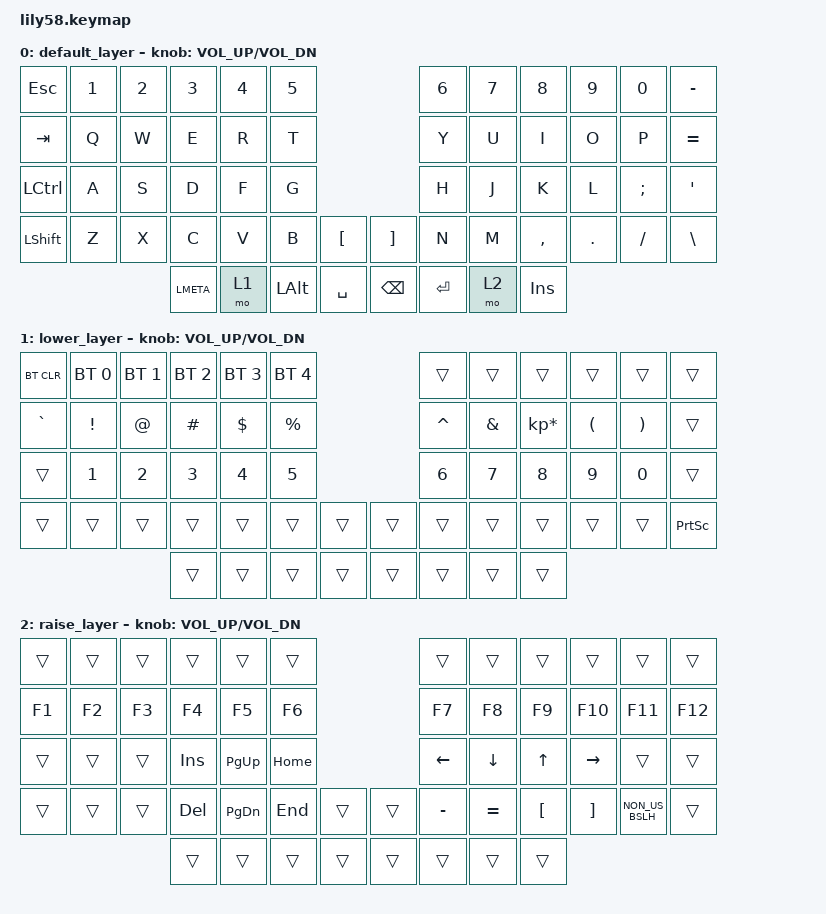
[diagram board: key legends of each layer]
/*
 * Copyright (c) 2020 The ZMK Contributors
 *
 * SPDX-License-Identifier: MIT
 */

#include <behaviors.dtsi>
#include <dt-bindings/zmk/keys.h>
#include <dt-bindings/zmk/bt.h>
#include <dt-bindings/zmk/ext_power.h>

/ {
	keymap {
		compatible = "zmk,keymap";

		default_layer {
// --------------------------------------------------------------------------------------------------------------
// |  ESC  |  1  |  2  |  3   |   4   |  5  |                   |  6    |  7    |  8   |  9   |   0   |   -   |
// |  TAB  |  Q  |  W  |  E   |   R   |  T  |                   |  Y    |  U    |  I   |  O   |   P   |   +   |
// |  CTRL |  A  |  S  |  D   |   F   |  G  |                   |  H    |  J    |  K   |  L   |   ;   |   "   |
// | SHIFT |  Z  |  X  |  C   |   V   |  B  |   "["  |  |  "]"  |  N    |  M    |  ,   |  .   |   /   |   \   |
//                     | WIN  | LOWER | ALT |  SPACE |  | BSPC  | ENTER | RAISE | GUI  |
			bindings = <
&kp ESC   &kp N1 &kp N2 &kp N3    &kp N4 &kp N5                        &kp N6  &kp N7   &kp N8    &kp N9  &kp N0   &kp MINUS
&kp TAB   &kp Q  &kp W  &kp E     &kp R  &kp T                         &kp Y   &kp U    &kp I     &kp O   &kp P    &kp EQUAL
&kp LCTRL &kp A  &kp S  &kp D     &kp F  &kp G                         &kp H   &kp J    &kp K     &kp L   &kp SEMI &kp SQT
&kp LSHFT &kp Z  &kp X  &kp C     &kp V  &kp B     &kp LBKT   &kp RBKT &kp N   &kp M    &kp COMMA &kp DOT &kp FSLH &kp BACKSLASH
                        &kp LMETA &mo 1  &kp LALT  &kp SPACE  &kp BSPC &kp RET &mo 2    &kp INS
			>;

			sensor-bindings = <&inc_dec_kp C_VOL_UP C_VOL_DN>;
		};

		lower_layer {
// ------------------------------------------------------------------------------------------------------------
// | BTCLR | BT1 | BT2 |  BT3 |  BT4 |  BT5 |                   |      |       |       |      |       |       |
// |  ~    |  !  |  @  |  #   |  $   |  %   |                   |  ^   |  &    |  *    |  (   |   )   |       |
// |       |  1  |  2  |  3   |  4   |  5   |                   |  6   |  7    |  8    |  9   |   0   |       |
// |       |     |     |      |      |      |        |  |       |      |       |       |      |       |  PRNT |
//                     |      |      |      |        |  |       |      |       |       |
			bindings = <
&bt BT_CLR &bt BT_SEL 0 &bt BT_SEL 1 &bt BT_SEL 2 &bt BT_SEL 3 &bt BT_SEL 4                 &trans    &trans    &trans          &trans    &trans    &trans
&kp GRAVE  &kp EXCL     &kp AT       &kp HASH     &kp DOLLAR   &kp PRCNT                    &kp CARET &kp AMPS  &kp KP_MULTIPLY &kp LPAR  &kp RPAR  &trans
&trans     &kp N1       &kp N2       &kp N3       &kp N4       &kp N5                       &kp N6    &kp N7    &kp N8          &kp N9    &kp N0    &trans
&trans     &trans       &trans       &trans       &trans       &trans    &trans   &trans    &trans    &trans    &trans          &trans    &trans    &kp PSCRN
                                     &trans       &trans       &trans    &trans   &trans    &trans    &trans    &trans
			>;

			sensor-bindings = <&inc_dec_kp C_VOL_UP C_VOL_DN>;
		};

		raise_layer {
// ------------------------------------------------------------------------------------------------------------
// |       |     |     |      |      |       |                   |      |       |       |      |       |       |
// |   F1  |  F2 |  F3 |  F4  |  F5  |  F6   |                   |  F7  |   F8  |  F9   | F10  | F11   | F12   |
// |       |     |     |  INS | PGUP | HOME  |                   |  <-  |   v   |   ^   |  ->  |       |       |
// |       |     |     |  DEL | PGDW | END   |        |  |       |  -   |   =   |   [   |  ]   |  "|"  |       |
//                     |      |      |       |        |  |       |      |       |       |
			bindings = <
&trans &trans &trans &trans  &trans    &trans                       &trans      &trans    &trans    &trans    &trans             &trans
&kp F1 &kp F2 &kp F3 &kp F4  &kp F5    &kp F6                       &kp F7      &kp F8    &kp F9    &kp F10   &kp F11            &kp F12
&trans &trans &trans &kp INS &kp PG_UP &kp HOME                     &kp LEFT    &kp DOWN  &kp UP    &kp RIGHT &trans             &trans
&trans &trans &trans &kp DEL &kp PG_DN &kp END   &trans   &trans    &kp MINUS   &kp EQUAL &kp LBKT  &kp RBKT  &kp NON_US_BSLH    &trans
                     &trans  &trans    &trans    &trans   &trans    &trans      &trans    &trans
			>;

			sensor-bindings = <&inc_dec_kp C_VOL_UP C_VOL_DN>;
		};
	};
};
